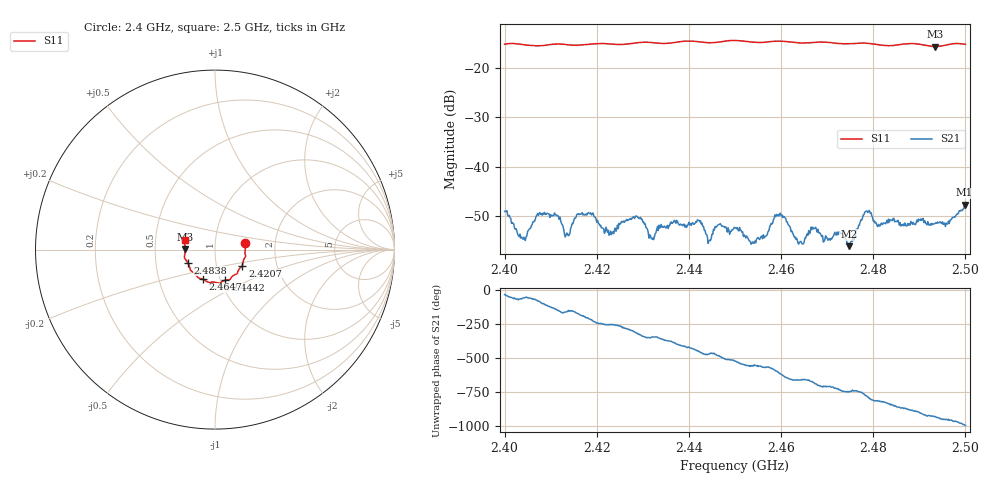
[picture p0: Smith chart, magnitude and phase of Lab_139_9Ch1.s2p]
# Hz S RI R 50
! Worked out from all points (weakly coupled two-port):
!   601 points, 2.4 GHz to 2.5 GHz, reference 50 ohm
!   highest |S21| = -47.67 dB at 2.4998 GHz (marker M1); lowest = -56.0 dB at 2.4747 GHz (marker M2)
!   lowest |S11| = -15.7 dB at 2.4935 GHz (marker M3), VSWR 1.39, Z = 35.9 + j0.13 ohm
!   |S11| at or under -10 dB: start of sweep to end of sweep
!   S12 and S22 are empty: the file has one direction only
!   S11 on the Smith chart (normalised r, x): 2.4 GHz: 1.40, +0.11; 2.4207 GHz: 1.33, -0.24; 2.4442 GHz: 1.06, -0.37; 2.4647 GHz: 0.83, -0.28; 2.4838 GHz: 0.73, -0.11; 2.5 GHz: 0.71, +0.08
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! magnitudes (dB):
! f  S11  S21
! 2.4 GHz  -15.2  -49.0
! 2.404 GHz  -15.3  -54.7
! 2.4075 GHz  -15.5  -49.4
! 2.4113 GHz  -15.2  -49.9
! 2.4135 GHz  -15.3  -53.4
! 2.4167 GHz  -15.3  -49.4
! 2.4207 GHz  -15.1  -51.9
! 2.4333 GHz  -15.0  -52.9
! 2.442 GHz  -14.7  -50.8
! 2.4442 GHz  -14.9  -55.5
! 2.45 GHz  -14.4  -52.3
! 2.454 GHz  -14.8  -55.5
! 2.4597 GHz  -14.6  -49.5
! 2.4647 GHz  -15.0  -55.6
! 2.4667 GHz  -14.9  -52.7
! 2.4747 GHz  -15.1  -56.0
! 2.4787 GHz  -15.0  -48.9
! 2.4833 GHz  -15.5  -50.6
! 2.4838 GHz  -15.5  -50.7
! 2.4935 GHz  -15.7  -51.4
! 2.4998 GHz  -15.2  -47.7
! 2.5 GHz  -15.2  -47.8
